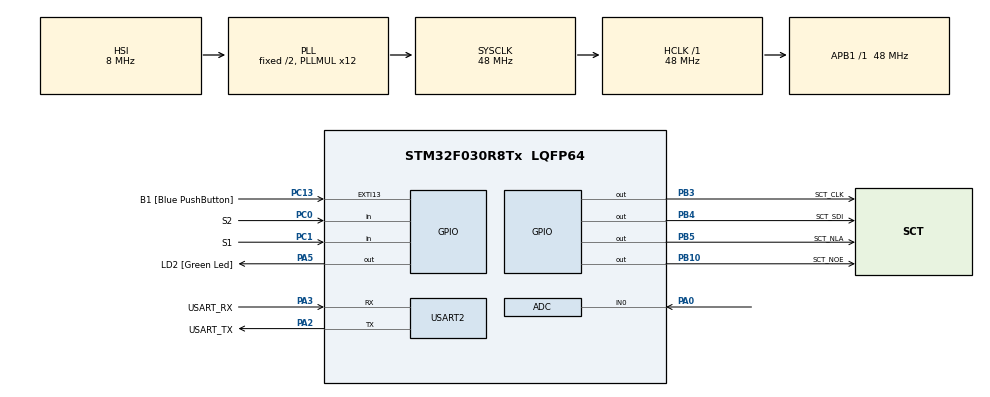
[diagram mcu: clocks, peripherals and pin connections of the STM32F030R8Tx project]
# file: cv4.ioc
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ADC.ContinuousConvMode=ENABLE
ADC.Overrun=ADC_OVR_DATA_OVERWRITTEN
ADC.SamplingTime=ADC_SAMPLETIME_239CYCLES_5
Mcu.Family=STM32F0
Mcu.Name=STM32F030R8Tx
Mcu.Package=LQFP64
NVIC.ADC1_IRQn=true\:0\:0\:false\:false\:true\:true\:true\:true
PA0.Mode=IN0
PA0.Signal=ADC_IN0
PA13.GPIO_Label=TMS
PA13.Mode=Serial_Wire
PA13.Signal=SYS_SWDIO
PA14.GPIO_Label=TCK
PA14.Mode=Serial_Wire
PA14.Signal=SYS_SWCLK
PA2.GPIO_Label=USART_TX
PA2.GPIO_Mode=GPIO_MODE_AF_PP
PA2.GPIO_PuPd=GPIO_NOPULL
PA2.GPIO_Speed=GPIO_SPEED_FREQ_LOW
PA2.Mode=Asynchronous
PA2.Signal=USART2_TX
PA3.GPIO_Label=USART_RX
PA3.GPIO_Mode=GPIO_MODE_AF_PP
PA3.GPIO_PuPd=GPIO_NOPULL
PA3.GPIO_Speed=GPIO_SPEED_FREQ_LOW
PA3.Mode=Asynchronous
PA3.Signal=USART2_RX
PA5.GPIO_Label=LD2 [Green Led]
PA5.GPIO_Mode=GPIO_MODE_OUTPUT_PP
PA5.GPIO_PuPd=GPIO_NOPULL
PA5.GPIO_Speed=GPIO_SPEED_FREQ_LOW
PA5.Signal=GPIO_Output
PB10.GPIO_Label=SCT_NOE
PB10.Signal=GPIO_Output
PB3.GPIO_Label=SCT_CLK
PB3.Signal=GPIO_Output
PB4.GPIO_Label=SCT_SDI
PB4.Signal=GPIO_Output
PB5.GPIO_Label=SCT_NLA
PB5.Signal=GPIO_Output
PC0.GPIO_Label=S2
PC0.GPIO_PuPd=GPIO_PULLUP
PC0.Signal=GPIO_Input
PC1.GPIO_Label=S1
PC1.GPIO_PuPd=GPIO_PULLUP
PC1.Signal=GPIO_Input
PC13.GPIO_Label=B1 [Blue PushButton]
PC13.GPIO_ModeDefaultEXTI=GPIO_MODE_IT_FALLING
PC13.Signal=GPXTI13
PC14-OSC32_IN.Mode=LSE-External-Oscillator
PC14-OSC32_IN.Signal=RCC_OSC32_IN
PC15-OSC32_OUT.Mode=LSE-External-Oscillator
PC15-OSC32_OUT.Signal=RCC_OSC32_OUT
PF0-OSC_IN.Mode=HSE-External-Clock-Source
PF0-OSC_IN.Signal=RCC_OSC_IN
PF1-OSC_OUT.Signal=RCC_OSC_OUT
ProjectManager.HeapSize=0x200
ProjectManager.StackSize=0x400
ProjectManager.TargetToolchain=STM32CubeIDE
RCC.AHBFreq_Value=48000000
RCC.APB1Freq_Value=48000000
RCC.APB1TimFreq_Value=48000000
RCC.HCLKFreq_Value=48000000
RCC.PLLMUL=RCC_PLL_MUL12
RCC.SYSCLKFreq_VALUE=48000000
RCC.SYSCLKSource=RCC_SYSCLKSOURCE_PLLCLK
USART2.VirtualMode-Asynchronous=VM_ASYNC
VP_ADC_TempSens_Input.Mode=IN-TempSens
VP_ADC_Vref_Input.Mode=IN-Vrefint
board=NUCLEO-F030R8

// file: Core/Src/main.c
/* USER CODE BEGIN Header */
/**
  ******************************************************************************
  * @file           : main.c
  * @brief          : Main program body
  ******************************************************************************
  * @attention
  *
  * Copyright (c) 2023 STMicroelectronics.
  * All rights reserved.
  *
  * This software is licensed under terms that can be found in the LICENSE file
  * in the root directory of this software component.
  * If no LICENSE file comes with this software, it is provided AS-IS.
  *
  ******************************************************************************
  */
/* USER CODE END Header */
#include "main.h"

/* USER CODE BEGIN Includes */
#include "sct.h"
/* USER CODE END Includes */

/* USER CODE BEGIN PD */
#define TEMP110_CAL_ADDR ((uint16_t*) ((uint32_t) 0x1FFFF7C2))
#define TEMP30_CAL_ADDR ((uint16_t*) ((uint32_t) 0x1FFFF7B8))
/* Internal voltage reference calibration value address */
#define VREFINT_CAL_ADDR ((uint16_t*) ((uint32_t) 0x1FFFF7BA))
/* USER CODE END PD */

ADC_HandleTypeDef hadc;

UART_HandleTypeDef huart2;

void SystemClock_Config(void);
static void MX_GPIO_Init(void);
static void MX_USART2_UART_Init(void);
static void MX_ADC_Init(void);
/* USER CODE BEGIN PFP */

/* Temperature sensor calibration value address */
#define TEMP110_CAL_ADDR ((uint16_t*) ((uint32_t) 0x1FFFF7C2))
#define TEMP30_CAL_ADDR ((uint16_t*) ((uint32_t) 0x1FFFF7B8))
/* Internal voltage reference calibration value address */
#define VREFINT_CAL_ADDR ((uint16_t*) ((uint32_t) 0x1FFFF7BA))

/* USER CODE END PFP */

/* USER CODE BEGIN 0 */

static uint32_t time;
static uint32_t avg_pot;
static uint8_t ADC_Q =12;
static uint8_t channel;
static enum { SHOW_POT, SHOW_VOLT, SHOW_TEMP} state = SHOW_POT;

static volatile uint32_t raw_pot;
static volatile uint32_t raw_temp;
static volatile uint32_t raw_volt;
static volatile uint32_t voltage;
static volatile uint32_t temperature;
void HAL_ADC_ConvCpltCallback(ADC_HandleTypeDef* hadc)
{
	switch (channel) {
	case SHOW_POT:
		raw_pot = avg_pot >> ADC_Q;
		avg_pot -= raw_pot;
		avg_pot += HAL_ADC_GetValue(hadc);
		break;
	case SHOW_VOLT:
		raw_temp = HAL_ADC_GetValue(hadc);
		temperature = (raw_temp - (int32_t) (*TEMP30_CAL_ADDR));
		temperature = temperature * (int32_t) (110 - 30);
		temperature = temperature
				/ (int32_t) (*TEMP110_CAL_ADDR - *TEMP30_CAL_ADDR);
		temperature = temperature + 30;
		break;
	case SHOW_TEMP:
		raw_volt = HAL_ADC_GetValue(hadc);
		voltage = 330 * (*VREFINT_CAL_ADDR) / raw_volt;
		break;
	}
	if (__HAL_ADC_GET_FLAG(hadc, ADC_FLAG_EOS))
		channel = 0;
	else
		channel++;

}
/* USER CODE END 0 */

int main(void)
{

  /* MCU Configuration--------------------------------------------------------*/

  /* Reset of all peripherals, Initializes the Flash interface and the Systick. */
  HAL_Init();

  /* USER CODE BEGIN Init */
  sct_init();
  /* USER CODE END Init */

  /* Configure the system clock */
  SystemClock_Config();

  /* Initialize all configured peripherals */
  MX_GPIO_Init();
  MX_USART2_UART_Init();
  MX_ADC_Init();
  /* USER CODE BEGIN 2 */
  HAL_ADCEx_Calibration_Start(&hadc);
  HAL_ADC_Start_IT(&hadc);
  /* USER CODE END 2 */

  /* Infinite loop */
  while (1) {
    /* USER CODE BEGIN 3 */
		if (time + 1000 < HAL_GetTick()) {
			state = SHOW_POT;
		}
		if (!HAL_GPIO_ReadPin(S2_GPIO_Port, S2_Pin)) {
			state = SHOW_TEMP;
			time = HAL_GetTick();
		}
		if (!HAL_GPIO_ReadPin(S1_GPIO_Port, S1_Pin)) {
			state = SHOW_VOLT;
			time = HAL_GetTick();
		}
		switch (state){
		case SHOW_POT:
			sct_value(raw_pot * 500 / 4085, raw_pot * 8 / 4085);
			break;
		case SHOW_TEMP:
			sct_value(temperature, 0);
			break;
		case SHOW_VOLT:
			sct_value(voltage, 0);
			break;
		}
		HAL_Delay(50);
	}
  /* USER CODE END 3 */
}

void SystemClock_Config(void)
{
  RCC_OscInitTypeDef RCC_OscInitStruct = {0};
  RCC_ClkInitTypeDef RCC_ClkInitStruct = {0};

  /** Initializes the RCC Oscillators according to the specified parameters
  * in the RCC_OscInitTypeDef structure.
  */
  RCC_OscInitStruct.OscillatorType = RCC_OSCILLATORTYPE_HSI|RCC_OSCILLATORTYPE_HSI14;
  RCC_OscInitStruct.HSIState = RCC_HSI_ON;
  RCC_OscInitStruct.HSI14State = RCC_HSI14_ON;
  RCC_OscInitStruct.HSICalibrationValue = RCC_HSICALIBRATION_DEFAULT;
  RCC_OscInitStruct.HSI14CalibrationValue = 16;
  RCC_OscInitStruct.PLL.PLLState = RCC_PLL_ON;
  RCC_OscInitStruct.PLL.PLLSource = RCC_PLLSOURCE_HSI;
  RCC_OscInitStruct.PLL.PLLMUL = RCC_PLL_MUL12;
  RCC_OscInitStruct.PLL.PREDIV = RCC_PREDIV_DIV1;
  if (HAL_RCC_OscConfig(&RCC_OscInitStruct) != HAL_OK)
  {
    Error_Handler();
  }

  /** Initializes the CPU, AHB and APB buses clocks
  */
  RCC_ClkInitStruct.ClockType = RCC_CLOCKTYPE_HCLK|RCC_CLOCKTYPE_SYSCLK
                              |RCC_CLOCKTYPE_PCLK1;
  RCC_ClkInitStruct.SYSCLKSource = RCC_SYSCLKSOURCE_PLLCLK;
  RCC_ClkInitStruct.AHBCLKDivider = RCC_SYSCLK_DIV1;
  RCC_ClkInitStruct.APB1CLKDivider = RCC_HCLK_DIV1;

  if (HAL_RCC_ClockConfig(&RCC_ClkInitStruct, FLASH_LATENCY_1) != HAL_OK)
  {
    Error_Handler();
  }
}

static void MX_ADC_Init(void)
{

  ADC_ChannelConfTypeDef sConfig = {0};

  /** Configure the global features of the ADC (Clock, Resolution, Data Alignment and number of conversion)
  */
  hadc.Instance = ADC1;
  hadc.Init.ClockPrescaler = ADC_CLOCK_ASYNC_DIV1;
  hadc.Init.Resolution = ADC_RESOLUTION_12B;
  hadc.Init.DataAlign = ADC_DATAALIGN_RIGHT;
  hadc.Init.ScanConvMode = ADC_SCAN_DIRECTION_FORWARD;
  hadc.Init.EOCSelection = ADC_EOC_SINGLE_CONV;
  hadc.Init.LowPowerAutoWait = DISABLE;
  hadc.Init.LowPowerAutoPowerOff = DISABLE;
  hadc.Init.ContinuousConvMode = ENABLE;
  hadc.Init.DiscontinuousConvMode = DISABLE;
  hadc.Init.ExternalTrigConv = ADC_SOFTWARE_START;
  hadc.Init.ExternalTrigConvEdge = ADC_EXTERNALTRIGCONVEDGE_NONE;
  hadc.Init.DMAContinuousRequests = DISABLE;
  hadc.Init.Overrun = ADC_OVR_DATA_OVERWRITTEN;
  if (HAL_ADC_Init(&hadc) != HAL_OK)
  {
    Error_Handler();
  }

  /** Configure for the selected ADC regular channel to be converted.
  */
  sConfig.Channel = ADC_CHANNEL_0;
  sConfig.Rank = ADC_RANK_CHANNEL_NUMBER;
  sConfig.SamplingTime = ADC_SAMPLETIME_239CYCLES_5;
  if (HAL_ADC_ConfigChannel(&hadc, &sConfig) != HAL_OK)
  {
    Error_Handler();
  }

  /** Configure for the selected ADC regular channel to be converted.
  */
  sConfig.Channel = ADC_CHANNEL_TEMPSENSOR;
  if (HAL_ADC_ConfigChannel(&hadc, &sConfig) != HAL_OK)
  {
    Error_Handler();
  }

  /** Configure for the selected ADC regular channel to be converted.
  */
  sConfig.Channel = ADC_CHANNEL_VREFINT;
  if (HAL_ADC_ConfigChannel(&hadc, &sConfig) != HAL_OK)
  {
    Error_Handler();
  }

}

static void MX_USART2_UART_Init(void)
{

  huart2.Instance = USART2;
  huart2.Init.BaudRate = 38400;
  huart2.Init.WordLength = UART_WORDLENGTH_8B;
  huart2.Init.StopBits = UART_STOPBITS_1;
  huart2.Init.Parity = UART_PARITY_NONE;
  huart2.Init.Mode = UART_MODE_TX_RX;
  huart2.Init.HwFlowCtl = UART_HWCONTROL_NONE;
  huart2.Init.OverSampling = UART_OVERSAMPLING_16;
  huart2.Init.OneBitSampling = UART_ONE_BIT_SAMPLE_DISABLE;
  huart2.AdvancedInit.AdvFeatureInit = UART_ADVFEATURE_NO_INIT;
  if (HAL_UART_Init(&huart2) != HAL_OK)
  {
    Error_Handler();
  }

}

static void MX_GPIO_Init(void)
{
  GPIO_InitTypeDef GPIO_InitStruct = {0};

  /* GPIO Ports Clock Enable */
  __HAL_RCC_GPIOC_CLK_ENABLE();
  __HAL_RCC_GPIOF_CLK_ENABLE();
  __HAL_RCC_GPIOA_CLK_ENABLE();
  __HAL_RCC_GPIOB_CLK_ENABLE();

  /*Configure GPIO pin Output Level */
  HAL_GPIO_WritePin(LD2_GPIO_Port, LD2_Pin, GPIO_PIN_RESET);

  /*Configure GPIO pin Output Level */
  HAL_GPIO_WritePin(GPIOB, SCT_NOE_Pin|SCT_CLK_Pin|SCT_SDI_Pin|SCT_NLA_Pin, GPIO_PIN_RESET);

  /*Configure GPIO pin : B1_Pin */
  GPIO_InitStruct.Pin = B1_Pin;
  GPIO_InitStruct.Mode = GPIO_MODE_IT_FALLING;
  GPIO_InitStruct.Pull = GPIO_NOPULL;
  HAL_GPIO_Init(B1_GPIO_Port, &GPIO_InitStruct);

  /*Configure GPIO pins : S2_Pin S1_Pin */
  GPIO_InitStruct.Pin = S2_Pin|S1_Pin;
  GPIO_InitStruct.Mode = GPIO_MODE_INPUT;
  GPIO_InitStruct.Pull = GPIO_PULLUP;
  HAL_GPIO_Init(GPIOC, &GPIO_InitStruct);

  /*Configure GPIO pin : LD2_Pin */
  GPIO_InitStruct.Pin = LD2_Pin;
  GPIO_InitStruct.Mode = GPIO_MODE_OUTPUT_PP;
  GPIO_InitStruct.Pull = GPIO_NOPULL;
  GPIO_InitStruct.Speed = GPIO_SPEED_FREQ_LOW;
  HAL_GPIO_Init(LD2_GPIO_Port, &GPIO_InitStruct);

  /*Configure GPIO pins : SCT_NOE_Pin SCT_CLK_Pin SCT_SDI_Pin SCT_NLA_Pin */
  GPIO_InitStruct.Pin = SCT_NOE_Pin|SCT_CLK_Pin|SCT_SDI_Pin|SCT_NLA_Pin;
  GPIO_InitStruct.Mode = GPIO_MODE_OUTPUT_PP;
  GPIO_InitStruct.Pull = GPIO_NOPULL;
  GPIO_InitStruct.Speed = GPIO_SPEED_FREQ_LOW;
  HAL_GPIO_Init(GPIOB, &GPIO_InitStruct);

}

void Error_Handler(void)
{
  __disable_irq();
  while (1)
  {
  }
}
